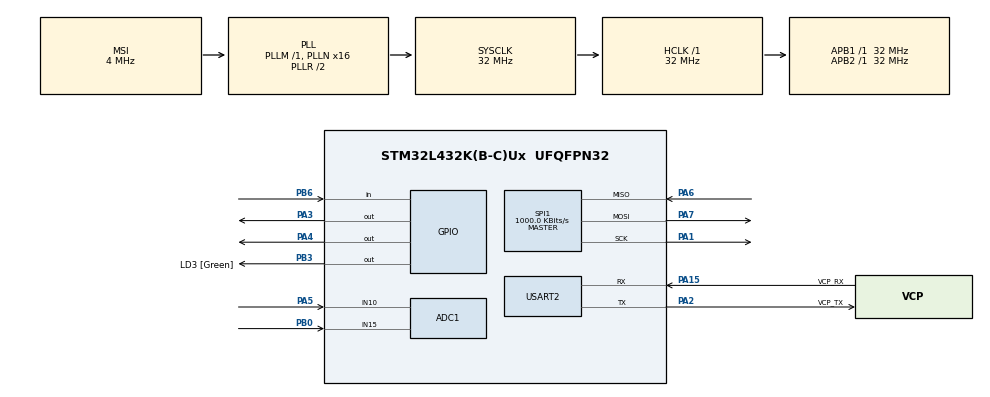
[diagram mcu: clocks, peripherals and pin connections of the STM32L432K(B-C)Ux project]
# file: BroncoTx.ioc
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ADC1.Channel-0\#ChannelRegularConversion=ADC_CHANNEL_10
ADC1.NbrOfConversionFlag=1
ADC1.OffsetNumber-0\#ChannelRegularConversion=ADC_OFFSET_NONE
ADC1.Rank-0\#ChannelRegularConversion=1
ADC1.SamplingTime-0\#ChannelRegularConversion=ADC_SAMPLETIME_2CYCLES_5
ADC1.master=1
Mcu.Family=STM32L4
Mcu.Name=STM32L432K(B-C)Ux
Mcu.Package=UFQFPN32
NVIC.PriorityGroup=NVIC_PRIORITYGROUP_4
PA0.GPIO_Label=MCO [High speed clock in]
PA0.Mode=HSE-External-Clock-Source-for-LittleOrca
PA0.Signal=RCC_CK_IN
PA1.Mode=Full_Duplex_Master
PA1.Signal=SPI1_SCK
PA13\ (JTMS-SWDIO).GPIO_Label=SWDIO
PA13\ (JTMS-SWDIO).Mode=Serial_Wire
PA13\ (JTMS-SWDIO).Signal=SYS_JTMS-SWDIO
PA14\ (JTCK-SWCLK).GPIO_Label=SWCLK
PA14\ (JTCK-SWCLK).Mode=Serial_Wire
PA14\ (JTCK-SWCLK).Signal=SYS_JTCK-SWCLK
PA15\ (JTDI).GPIO_Label=VCP_RX
PA15\ (JTDI).Mode=Asynchronous
PA15\ (JTDI).Signal=USART2_RX
PA2.GPIO_Label=VCP_TX
PA2.Mode=Asynchronous
PA2.Signal=USART2_TX
PA3.Signal=GPIO_Output
PA4.PinState=GPIO_PIN_SET
PA4.Signal=GPIO_Output
PA5.Signal=ADCx_IN10
PA6.Mode=Full_Duplex_Master
PA6.Signal=SPI1_MISO
PA7.Mode=Full_Duplex_Master
PA7.Signal=SPI1_MOSI
PB0.Signal=ADCx_IN15
PB3\ (JTDO-TRACESWO).GPIO_Label=LD3 [Green]
PB3\ (JTDO-TRACESWO).Signal=GPIO_Output
PB6.Signal=GPIO_Input
PC14-OSC32_IN\ (PC14).Mode=LSE-External-Oscillator
PC14-OSC32_IN\ (PC14).Signal=RCC_OSC32_IN
PC15-OSC32_OUT\ (PC15).Mode=LSE-External-Oscillator
PC15-OSC32_OUT\ (PC15).Signal=RCC_OSC32_OUT
ProjectManager.HeapSize=0x200
ProjectManager.StackSize=0x400
ProjectManager.TargetToolchain=CMake
RCC.ADCFreq_Value=32000000
RCC.AHBFreq_Value=32000000
RCC.APB1Freq_Value=32000000
RCC.APB1TimFreq_Value=32000000
RCC.APB2Freq_Value=32000000
RCC.APB2TimFreq_Value=32000000
RCC.CortexFreq_Value=32000000
RCC.HCLKFreq_Value=32000000
RCC.HSE_VALUE=8000000
RCC.HSI16_VALUE=16000000
RCC.HSI48_VALUE=48000000
RCC.HSI_VALUE=16000000
RCC.MSI_VALUE=4000000
RCC.PLLMUL=RCC_PLLMUL_4
RCC.PLLN=16
RCC.PLLSAI1N=16
RCC.SYSCLKFreq_VALUE=32000000
RCC.SYSCLKSource=RCC_SYSCLKSOURCE_PLLCLK
RCC.USBFreq_Value=32000000
RCC.VCOOutputFreq_Value=64000000
SH.ADCx_IN10.0=ADC1_IN10,IN10-Single-Ended
SH.ADCx_IN15.0=ADC1_IN15,IN15-Single-Ended
SPI1.BaudRatePrescaler=SPI_BAUDRATEPRESCALER_32
SPI1.CalculateBaudRate=1000.0 KBits/s
SPI1.DataSize=SPI_DATASIZE_8BIT
SPI1.Direction=SPI_DIRECTION_2LINES
SPI1.Mode=SPI_MODE_MASTER
SPI1.NSSPMode=SPI_NSS_PULSE_DISABLE
SPI1.VirtualType=VM_MASTER
USART2.VirtualMode-Asynchronous=VM_ASYNC
board=NUCLEO-L432KC

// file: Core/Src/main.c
/* USER CODE BEGIN Header */
/**
 ******************************************************************************
 * @file           : main.c
 * @brief          : Main program body
 ******************************************************************************
 * @attention
 *
 * Copyright (c) 2026 STMicroelectronics.
 * All rights reserved.
 *
 * This software is licensed under terms that can be found in the LICENSE file
 * in the root directory of this software component.
 * If no LICENSE file comes with this software, it is provided AS-IS.
 *
 ******************************************************************************
 */
/* USER CODE END Header */
#include "main.h"

/* USER CODE BEGIN Includes */
#include "stm32l432xx.h"
#include "stm32l4xx_hal_gpio.h"
#include "stm32l4xx_hal_spi.h"
#include <stdio.h>

/* USER CODE END Includes */

/* USER CODE BEGIN PTD */

typedef struct {
  uint16_t x;
  uint16_t y;
} joystick_payload_t;

/* USER CODE END PTD */

/* USER CODE BEGIN PM */

#define CE_Port GPIOA
#define CE_Pin GPIO_PIN_3

#define NRF24_REG_CONFIG 0x00

#define NRF24_REG_RF_CH 0x05
#define NRF24_REG_STATUS 0x07
#define NRF24_REG_RX_ADDR_P0 0x0A
#define NRF24_REG_TX_ADDR 0x10

/* USER CODE END PM */

ADC_HandleTypeDef hadc1;

SPI_HandleTypeDef hspi1;

UART_HandleTypeDef huart2;

void SystemClock_Config(void);
static void MX_GPIO_Init(void);
static void MX_USART2_UART_Init(void);
static void MX_SPI1_Init(void);
static void MX_ADC1_Init(void);
/* USER CODE BEGIN PFP */

void nrf24_pulse_ce(void) {
  HAL_GPIO_WritePin(CE_Port, CE_Pin, GPIO_PIN_SET);
  HAL_Delay(1); // comfortably clears the 10µs minimum (Thce)
  HAL_GPIO_WritePin(CE_Port, CE_Pin, GPIO_PIN_RESET);
}

/* USER CODE END PFP */

int main(void) {

  /* MCU Configuration--------------------------------------------------------*/

  /* Reset of all peripherals, Initializes the Flash interface and the Systick.
   */
  HAL_Init();

  /* Configure the system clock */
  SystemClock_Config();

  /* Initialize all configured peripherals */
  MX_GPIO_Init();
  MX_USART2_UART_Init();
  MX_SPI1_Init();
  MX_ADC1_Init();
  /* USER CODE BEGIN 2 */

  // set PWR_UP = 1
  // set PRIM_RX = 0
  // wait for the startup time, and configure any other radio registers you need

  // Begin read and print CONFIG register
  HAL_Delay(100);
  uint8_t cfg = nrf24_read_reg(NRF24_REG_CONFIG);
  printf("CONFIG = 0x%02X\r\n", cfg);
  // End read and print CONFIG register

  // Begin config for transmit
  uint8_t addr[5] = {0xE7, 0xE7, 0xE7, 0xE7,
                     0xE7}; // must match the receiver's RX_ADDR_P0

  nrf24_write_addr_reg(NRF24_REG_TX_ADDR, addr, 5);
  nrf24_write_addr_reg(NRF24_REG_RX_ADDR_P0, addr,
                       5); // needed so this node can receive the ACK
  nrf24_write_reg(NRF24_REG_RF_CH,
                  76); // 2400 + 76 = 2476 MHz; must match the receiver
  nrf24_write_reg(NRF24_REG_CONFIG,
                  0x0A); // EN_CRC=1, CRCO=0, PWR_UP=1, PRIM_RX=0

  HAL_Delay(
      5); // Tpd2stby: worst case 4.5ms for Ls=90mH crystals — give it margin
  // End config for transmit

  joystick_payload_t payload; // added to send joystick data

  /* USER CODE END 2 */

  /* Infinite loop */
  while (1) {
    /* USER CODE BEGIN 3 */

    Joystick_Read(&payload.x, &payload.y); // added to send joystick data

    nrf24_write_payload((uint8_t *)&payload, sizeof(payload)); // added to send joystick data

    nrf24_pulse_ce();

    uint8_t status = nrf24_read_reg(NRF24_REG_STATUS);
    nrf24_write_reg(NRF24_REG_STATUS, 0x70); // clear RX_DR/TX_DS/MAX_RT by writing 1s

    printf("STATUS = 0x%02X | X: %4u  Y: %4u\r\n", status, payload.x, payload.y);

    HAL_Delay(200);
  }
  /* USER CODE END 3 */
}

void SystemClock_Config(void) {
  RCC_OscInitTypeDef RCC_OscInitStruct = {0};
  RCC_ClkInitTypeDef RCC_ClkInitStruct = {0};

  /** Configure the main internal regulator output voltage
   */
  if (HAL_PWREx_ControlVoltageScaling(PWR_REGULATOR_VOLTAGE_SCALE1) != HAL_OK) {
    Error_Handler();
  }

  /** Configure LSE Drive Capability
   */
  HAL_PWR_EnableBkUpAccess();
  __HAL_RCC_LSEDRIVE_CONFIG(RCC_LSEDRIVE_LOW);

  /** Initializes the RCC Oscillators according to the specified parameters
   * in the RCC_OscInitTypeDef structure.
   */
  RCC_OscInitStruct.OscillatorType =
      RCC_OSCILLATORTYPE_LSE | RCC_OSCILLATORTYPE_MSI;
  RCC_OscInitStruct.LSEState = RCC_LSE_ON;
  RCC_OscInitStruct.MSIState = RCC_MSI_ON;
  RCC_OscInitStruct.MSICalibrationValue = 0;
  RCC_OscInitStruct.MSIClockRange = RCC_MSIRANGE_6;
  RCC_OscInitStruct.PLL.PLLState = RCC_PLL_ON;
  RCC_OscInitStruct.PLL.PLLSource = RCC_PLLSOURCE_MSI;
  RCC_OscInitStruct.PLL.PLLM = 1;
  RCC_OscInitStruct.PLL.PLLN = 16;
  RCC_OscInitStruct.PLL.PLLP = RCC_PLLP_DIV7;
  RCC_OscInitStruct.PLL.PLLQ = RCC_PLLQ_DIV2;
  RCC_OscInitStruct.PLL.PLLR = RCC_PLLR_DIV2;
  if (HAL_RCC_OscConfig(&RCC_OscInitStruct) != HAL_OK) {
    Error_Handler();
  }

  /** Initializes the CPU, AHB and APB buses clocks
   */
  RCC_ClkInitStruct.ClockType = RCC_CLOCKTYPE_HCLK | RCC_CLOCKTYPE_SYSCLK |
                                RCC_CLOCKTYPE_PCLK1 | RCC_CLOCKTYPE_PCLK2;
  RCC_ClkInitStruct.SYSCLKSource = RCC_SYSCLKSOURCE_PLLCLK;
  RCC_ClkInitStruct.AHBCLKDivider = RCC_SYSCLK_DIV1;
  RCC_ClkInitStruct.APB1CLKDivider = RCC_HCLK_DIV1;
  RCC_ClkInitStruct.APB2CLKDivider = RCC_HCLK_DIV1;

  if (HAL_RCC_ClockConfig(&RCC_ClkInitStruct, FLASH_LATENCY_1) != HAL_OK) {
    Error_Handler();
  }

  /** Enable MSI Auto calibration
   */
  HAL_RCCEx_EnableMSIPLLMode();
}

static void MX_ADC1_Init(void) {

  ADC_ChannelConfTypeDef sConfig = {0};

  /** Common config
   */
  hadc1.Instance = ADC1;
  hadc1.Init.ClockPrescaler = ADC_CLOCK_ASYNC_DIV1;
  hadc1.Init.Resolution = ADC_RESOLUTION_12B;
  hadc1.Init.DataAlign = ADC_DATAALIGN_RIGHT;
  hadc1.Init.ScanConvMode = ADC_SCAN_DISABLE;
  hadc1.Init.EOCSelection = ADC_EOC_SINGLE_CONV;
  hadc1.Init.LowPowerAutoWait = DISABLE;
  hadc1.Init.ContinuousConvMode = DISABLE;
  hadc1.Init.NbrOfConversion = 1;
  hadc1.Init.DiscontinuousConvMode = DISABLE;
  hadc1.Init.ExternalTrigConv = ADC_SOFTWARE_START;
  hadc1.Init.ExternalTrigConvEdge = ADC_EXTERNALTRIGCONVEDGE_NONE;
  hadc1.Init.DMAContinuousRequests = DISABLE;
  hadc1.Init.Overrun = ADC_OVR_DATA_PRESERVED;
  hadc1.Init.OversamplingMode = DISABLE;
  if (HAL_ADC_Init(&hadc1) != HAL_OK) {
    Error_Handler();
  }

  /** Configure Regular Channel
   */
  sConfig.Channel = ADC_CHANNEL_10;
  sConfig.Rank = ADC_REGULAR_RANK_1;
  sConfig.SamplingTime = ADC_SAMPLETIME_2CYCLES_5;
  sConfig.SingleDiff = ADC_SINGLE_ENDED;
  sConfig.OffsetNumber = ADC_OFFSET_NONE;
  sConfig.Offset = 0;
  if (HAL_ADC_ConfigChannel(&hadc1, &sConfig) != HAL_OK) {
    Error_Handler();
  }
}

static void MX_SPI1_Init(void) {

  /* SPI1 parameter configuration*/
  hspi1.Instance = SPI1;
  hspi1.Init.Mode = SPI_MODE_MASTER;
  hspi1.Init.Direction = SPI_DIRECTION_2LINES;
  hspi1.Init.DataSize = SPI_DATASIZE_8BIT;
  hspi1.Init.CLKPolarity = SPI_POLARITY_LOW;
  hspi1.Init.CLKPhase = SPI_PHASE_1EDGE;
  hspi1.Init.NSS = SPI_NSS_SOFT;
  hspi1.Init.BaudRatePrescaler = SPI_BAUDRATEPRESCALER_32;
  hspi1.Init.FirstBit = SPI_FIRSTBIT_MSB;
  hspi1.Init.TIMode = SPI_TIMODE_DISABLE;
  hspi1.Init.CRCCalculation = SPI_CRCCALCULATION_DISABLE;
  hspi1.Init.CRCPolynomial = 7;
  hspi1.Init.CRCLength = SPI_CRC_LENGTH_DATASIZE;
  hspi1.Init.NSSPMode = SPI_NSS_PULSE_DISABLE;
  if (HAL_SPI_Init(&hspi1) != HAL_OK) {
    Error_Handler();
  }
}

static void MX_USART2_UART_Init(void) {

  huart2.Instance = USART2;
  huart2.Init.BaudRate = 115200;
  huart2.Init.WordLength = UART_WORDLENGTH_8B;
  huart2.Init.StopBits = UART_STOPBITS_1;
  huart2.Init.Parity = UART_PARITY_NONE;
  huart2.Init.Mode = UART_MODE_TX_RX;
  huart2.Init.HwFlowCtl = UART_HWCONTROL_NONE;
  huart2.Init.OverSampling = UART_OVERSAMPLING_16;
  huart2.Init.OneBitSampling = UART_ONE_BIT_SAMPLE_DISABLE;
  huart2.AdvancedInit.AdvFeatureInit = UART_ADVFEATURE_NO_INIT;
  if (HAL_UART_Init(&huart2) != HAL_OK) {
    Error_Handler();
  }
}

static void MX_GPIO_Init(void) {
  GPIO_InitTypeDef GPIO_InitStruct = {0};

  /* GPIO Ports Clock Enable */
  __HAL_RCC_GPIOC_CLK_ENABLE();
  __HAL_RCC_GPIOA_CLK_ENABLE();
  __HAL_RCC_GPIOB_CLK_ENABLE();

  /*Configure GPIO pin Output Level */
  HAL_GPIO_WritePin(GPIOA, GPIO_PIN_3, GPIO_PIN_RESET);

  /*Configure GPIO pin Output Level */
  HAL_GPIO_WritePin(GPIOA, GPIO_PIN_4, GPIO_PIN_SET);

  /*Configure GPIO pin Output Level */
  HAL_GPIO_WritePin(LD3_GPIO_Port, LD3_Pin, GPIO_PIN_RESET);

  /*Configure GPIO pins : PA3 PA4 */
  GPIO_InitStruct.Pin = GPIO_PIN_3 | GPIO_PIN_4;
  GPIO_InitStruct.Mode = GPIO_MODE_OUTPUT_PP;
  GPIO_InitStruct.Pull = GPIO_NOPULL;
  GPIO_InitStruct.Speed = GPIO_SPEED_FREQ_LOW;
  HAL_GPIO_Init(GPIOA, &GPIO_InitStruct);

  /*Configure GPIO pin : LD3_Pin */
  GPIO_InitStruct.Pin = LD3_Pin;
  GPIO_InitStruct.Mode = GPIO_MODE_OUTPUT_PP;
  GPIO_InitStruct.Pull = GPIO_NOPULL;
  GPIO_InitStruct.Speed = GPIO_SPEED_FREQ_LOW;
  HAL_GPIO_Init(LD3_GPIO_Port, &GPIO_InitStruct);

  /*Configure GPIO pin : PB6 */
  GPIO_InitStruct.Pin = GPIO_PIN_6;
  GPIO_InitStruct.Mode = GPIO_MODE_INPUT;
  GPIO_InitStruct.Pull = GPIO_NOPULL;
  HAL_GPIO_Init(GPIOB, &GPIO_InitStruct);

}

void Error_Handler(void) {
  __disable_irq();
  while (1) {
  }
}

#ifdef USE_FULL_ASSERT
/**
 * @brief  Reports the name of the source file and the source line number
 *         where the assert_param error has occurred.
 * @param  file: pointer to the source file name
 * @param  line: assert_param error line source number
 * @retval None
 */
void assert_failed(uint8_t *file, uint32_t line) {
  /* USER CODE BEGIN 6 */
  /* User can add his own implementation to report the file name and line
     number, ex: printf("Wrong parameters value: file %s on line %d\r\n", file,
     line) */
  /* USER CODE END 6 */
}
#endif /* USE_FULL_ASSERT */
